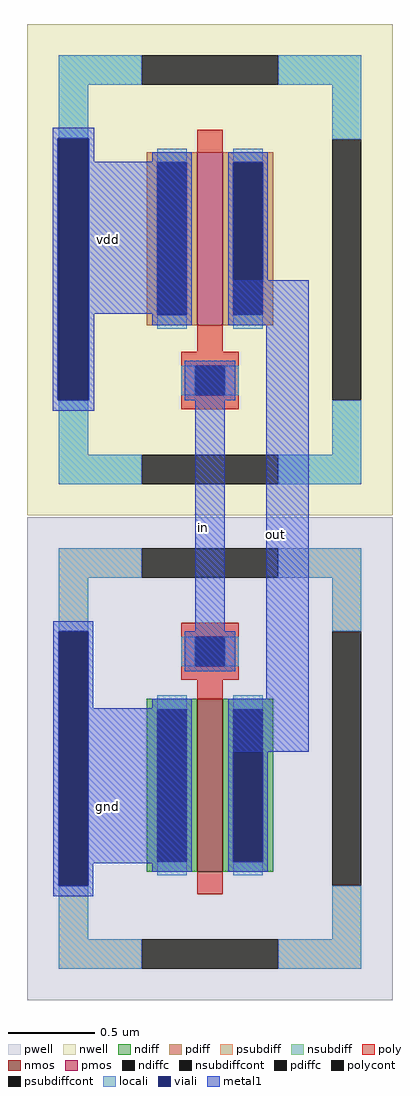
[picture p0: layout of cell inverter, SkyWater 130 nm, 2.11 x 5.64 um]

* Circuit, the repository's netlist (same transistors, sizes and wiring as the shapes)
** sch_path: /home/enka/inverter/inverter.sch
.subckt inverter vdd in out gnd
*.PININFO vdd:I in:I gnd:I out:O
XM1 out in vdd vdd sky130_fd_pr__pfet_01v8 L=0.15 W=1 nf=1 m=1
XM2 out in gnd gnd sky130_fd_pr__nfet_01v8 L=0.15 W=1 nf=1 m=1
.ends
.end

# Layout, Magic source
magic
tech sky130A
magscale 1 2
<< viali >>
rect -147 127 -111 430
rect -146 -434 -112 -140
<< metal1 >>
rect -153 430 -105 442
rect -153 127 -147 430
rect -111 403 -105 430
rect -111 227 3 403
rect -111 127 -105 227
rect 52 217 143 266
rect -153 115 -105 127
rect -152 -140 -106 -128
rect -152 -434 -146 -140
rect -112 -229 -106 -140
rect 12 -180 46 167
rect -112 -408 3 -229
rect 94 -230 143 217
rect 54 -279 143 -230
rect -112 -434 -106 -408
rect -152 -446 -106 -434
use sky130_fd_pr__pfet_01v8_LGS3BL  XM1
transform 1 0 29 0 1 278
box -211 -284 211 284
use sky130_fd_pr__nfet_01v8_64Z3AY  XM2
transform 1 0 29 0 1 -287
box -211 -279 211 279
<< labels >>
flabel metal1 -88 313 -88 313 0 FreeSans 160 0 0 0 vdd
port 1 nsew
flabel metal1 -89 -342 -89 -342 0 FreeSans 160 0 0 0 gnd
port 3 nsew
flabel metal1 22 -20 22 -20 0 FreeSans 160 0 0 0 in
port 5 nsew
flabel metal1 105 -28 105 -28 0 FreeSans 160 0 0 0 out
port 7 nsew
<< end >>

# cell sky130_fd_pr__pfet_01v8_LGS3BL: kit device sky130_fd_pr__pfet_01v8, w 1.0 l 0.15 m 1 nf 1 diffcov 100 polycov 100 guard 1 glc 1 grc 1 gtc 1 gbc 1 tbcov 100 rlcov 100 topc 0 botc 1 poverlap 0 doverlap 1 lmin 0.15 wmin 0.42 compatible {sky130_fd_pr__pfet_01v8 sky130_fd_pr__pfet_01v8_lvt sky130_fd_pr__pfet_01v8_hvt sky130_fd_pr__pfet_g5v0d10v5} full_metal 1 viasrc 100 viadrn 100 viagate 100 viagb 0 viagr 0 viagl 0 viagt 0

# cell sky130_fd_pr__nfet_01v8_64Z3AY: kit device sky130_fd_pr__nfet_01v8, w 1.0 l 0.15 m 1 nf 1 diffcov 100 polycov 100 guard 1 glc 1 grc 1 gtc 1 gbc 1 tbcov 100 rlcov 100 topc 1 botc 0 poverlap 0 doverlap 1 lmin 0.15 wmin 0.42 compatible {sky130_fd_pr__nfet_01v8 sky130_fd_pr__nfet_01v8_lvt sky130_fd_bs_flash__special_sonosfet_star sky130_fd_pr__nfet_g5v0d10v5 sky130_fd_pr__nfet_05v0_nvt sky130_fd_pr__nfet_03v3_nvt} full_metal 1 viasrc 100 viadrn 100 viagate 100 viagb 0 viagr 0 viagl 0 viagt 0
